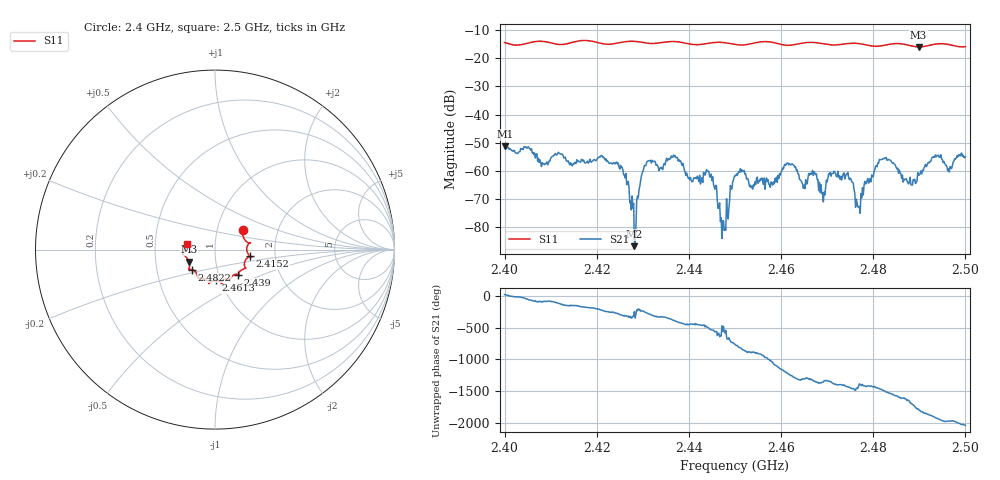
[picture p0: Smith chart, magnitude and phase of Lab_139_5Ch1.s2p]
# Hz S RI R 50
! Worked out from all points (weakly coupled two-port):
!   601 points, 2.4 GHz to 2.5 GHz, reference 50 ohm
!   highest |S21| = -51.28 dB at 2.4002 GHz (marker M1); lowest = -86.9 dB at 2.4282 GHz (marker M2)
!   lowest |S11| = -15.9 dB at 2.4898 GHz (marker M3), VSWR 1.38, Z = 37 - j5.06 ohm
!   |S11| at or under -10 dB: start of sweep to end of sweep
!   S12 and S22 are empty: the file has one direction only
!   S11 on the Smith chart (normalised r, x): 2.4 GHz: 1.33, +0.31; 2.4152 GHz: 1.48, -0.11; 2.439 GHz: 1.24, -0.36; 2.4613 GHz: 0.96, -0.34; 2.4822 GHz: 0.76, -0.17; 2.5 GHz: 0.72, +0.05
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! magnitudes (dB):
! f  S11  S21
! 2.4 GHz  -14.4  -51.8
! 2.4002 GHz  -14.4  -51.3
! 2.4152 GHz  -14.1  -57.0
! 2.4167 GHz  -13.6  -56.0
! 2.425 GHz  -14.4  -59.4
! 2.4282 GHz  -13.9  -86.9
! 2.4307 GHz  -14.5  -58.1
! 2.4333 GHz  -14.5  -58.7
! 2.439 GHz  -14.5  -59.6
! 2.4443 GHz  -14.6  -60.2
! 2.4475 GHz  -14.4  -77.8
! 2.45 GHz  -15.0  -61.7
! 2.458 GHz  -14.2  -64.4
! 2.4613 GHz  -15.3  -57.4
! 2.4667 GHz  -14.3  -60.8
! 2.469 GHz  -14.8  -67.8
! 2.4747 GHz  -14.7  -62.5
! 2.4767 GHz  -14.7  -72.8
! 2.4822 GHz  -15.4  -55.6
! 2.4833 GHz  -15.0  -56.0
! 2.4898 GHz  -15.9  -61.7
! 2.5 GHz  -15.8  -55.0
